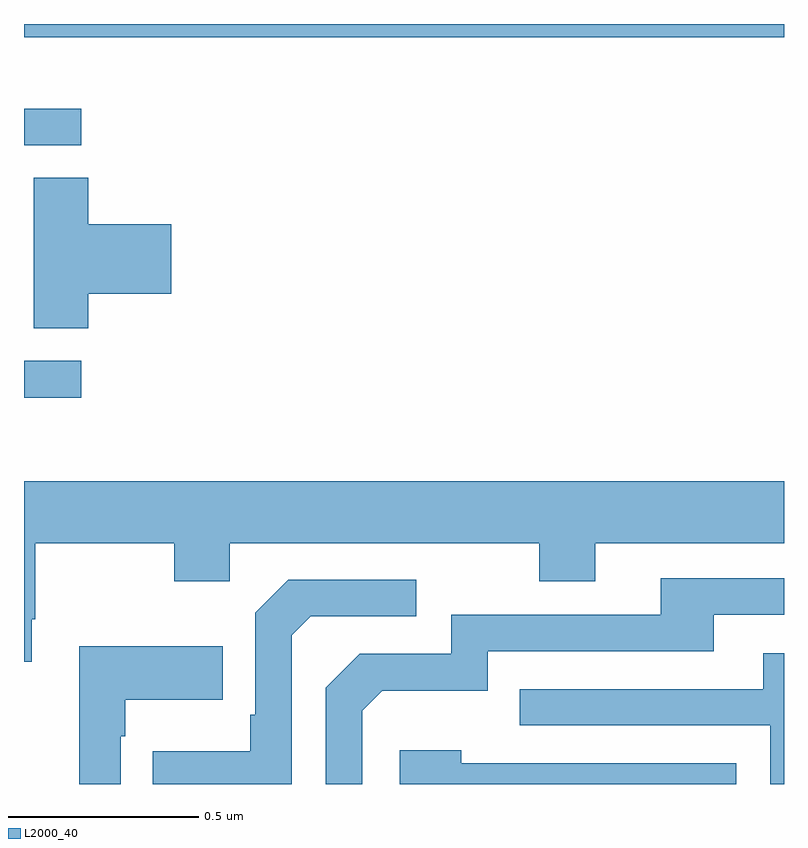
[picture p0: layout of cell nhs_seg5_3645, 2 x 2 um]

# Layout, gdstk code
import gdstk
lib = gdstk.Library(unit=1e-6, precision=1e-09)
def R(c, l, rs):  # rectangles x0, y0, x1, y1
    for r in rs: c.add(gdstk.rectangle(r[:2], r[2:], *l))
def P(c, l, *ps):  # polygons
    for p in ps: c.add(gdstk.Polygon(p, *l))
L2000_40 = (2000, 40)

nhs_seg5_3645 = lib.new_cell('nhs_seg5_3645')
R(nhs_seg5_3645, L2000_40, [(160,851.815,160.15,851.913), (160,852.48,160.15,852.576), (160,852.764,162,852.799)])
P(nhs_seg5_3645, L2000_40, [(160.169,852.089),(160.387,852.089),(160.387,852.272),(160.169,852.272),(160.169,852.395),(160.025,852.395),(160.025,851.998),(160.169,851.998)],
  [(160.021,851.233),(160.029,851.233),(160.029,851.432),(160.396,851.432),(160.396,851.333),(160.542,851.333),(160.542,851.432),(161.356,851.432),(161.356,851.333),(161.503,851.333),(161.503,851.432),(162,851.432),(162,851.596),(160,851.596),(160,851.121),(160.021,851.121)],
  [(160.89,850.992),(160.943,851.045),(161.22,851.045),(161.22,851.148),(161.815,851.148),(161.815,851.244),(162,851.244),(162,851.34),(161.675,851.34),(161.675,851.244),(161.124,851.244),(161.124,851.142),(160.884,851.142),(160.794,851.052),(160.794,850.799),(160.89,850.799)],
  [(160.704,851.19),(160.755,851.241),(161.032,851.241),(161.032,851.337),(160.695,851.337),(160.608,851.25),(160.608,850.981),(160.596,850.981),(160.596,850.885),(160.339,850.885),(160.339,850.799),(160.704,850.799)],
  [(160.254,850.925),(160.267,850.925),(160.267,851.021),(160.523,851.021),(160.523,851.161),(160.146,851.161),(160.146,850.799),(160.254,850.799)],
  [(162,851.143),(161.945,851.143),(161.945,851.049),(161.305,851.049),(161.305,850.953),(161.964,850.953),(161.964,850.799),(162,850.799)],
  [(161.874,850.854),(161.15,850.854),(161.15,850.888),(160.989,850.888),(160.989,850.799),(161.874,850.799)])

lib.write_gds('nhs_seg5_3645.gds')
